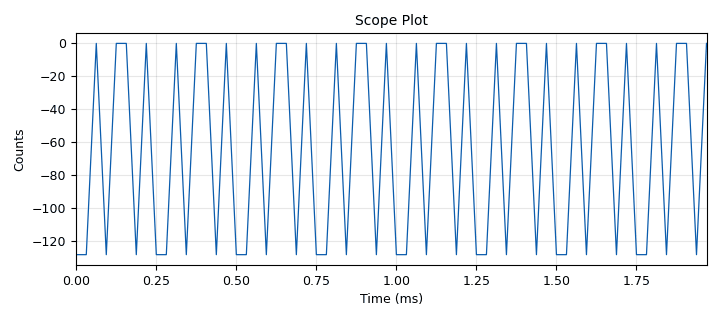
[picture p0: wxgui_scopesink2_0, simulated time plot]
<?xml version='1.0' encoding='utf-8'?>
<?grc format='1' created='3.7.13'?>
<flow_graph>
<block>
<key>options</key>
<param><key>id</key><value>top_block</value></param>
<param><key>generate_options</key><value>wx_gui</value></param>
</block>
<block>
<key>variable</key>
<param><key>id</key><value>samp_rate</value></param>
<param><key>value</key><value>32000</value></param>
</block>
<block>
<key>blocks_char_to_float</key>
<param><key>id</key><value>blocks_char_to_float_1</value></param>
<param><key>scale</key><value>1</value></param>
</block>
<block>
<key>blocks_packed_to_unpacked_xx</key>
<param><key>id</key><value>blocks_packed_to_unpacked_xx_0</value></param>
<param><key>bits_per_chunk</key><value>8</value></param>
<param><key>endianness</key><value>gr.GR_LSB_FIRST</value></param>
<param><key>type</key><value>byte</value></param>
</block>
<block>
<key>blocks_vector_source_x</key>
<param><key>id</key><value>blocks_vector_source_x_0_0_0</value></param>
<param><key>type</key><value>byte</value></param>
<param><key>repeat</key><value>True</value></param>
<param><key>vector</key><value>(1,1,0,1,0,0,1,0)</value></param>
</block>
<block>
<key>wxgui_scopesink2</key>
<param><key>id</key><value>wxgui_scopesink2_0</value></param>
<param><key>ac_couple</key><value>False</value></param>
<param><key>num_inputs</key><value>1</value></param>
<param><key>samp_rate</key><value>samp_rate</value></param>
<param><key>t_scale</key><value>0</value></param>
<param><key>title</key><value>Scope Plot</value></param>
<param><key>trig_mode</key><value>wxgui.TRIG_MODE_AUTO</value></param>
<param><key>type</key><value>float</value></param>
<param><key>v_offset</key><value>0</value></param>
<param><key>v_scale</key><value>0</value></param>
<param><key>xy_mode</key><value>False</value></param>
<param><key>y_axis_label</key><value>Counts</value></param>
</block>
<connection><source_block_id>blocks_char_to_float_1</source_block_id><sink_block_id>wxgui_scopesink2_0</sink_block_id><source_key>0</source_key><sink_key>0</sink_key></connection>
<connection><source_block_id>blocks_packed_to_unpacked_xx_0</source_block_id><sink_block_id>blocks_char_to_float_1</sink_block_id><source_key>0</source_key><sink_key>0</sink_key></connection>
<connection><source_block_id>blocks_vector_source_x_0_0_0</source_block_id><sink_block_id>blocks_packed_to_unpacked_xx_0</sink_block_id><source_key>0</source_key><sink_key>0</sink_key></connection>
</flow_graph>
